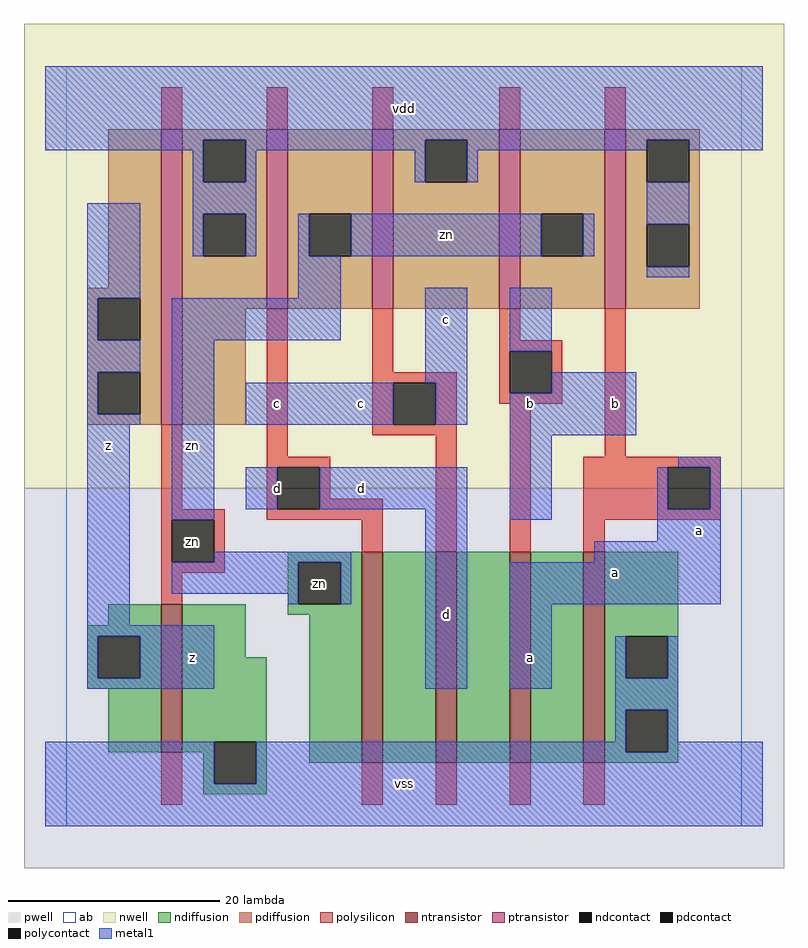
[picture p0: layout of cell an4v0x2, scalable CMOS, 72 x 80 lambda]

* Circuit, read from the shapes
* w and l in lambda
.subckt an4v0x2 a b c d vdd vss z zn
M1 vss zn z VSUBS nfet w=14 l=2
M2 n1 d zn VSUBS nfet w=20 l=2
M3 n2 c n1 VSUBS nfet w=20 l=2
M4 n3 b n2 VSUBS nfet w=20 l=2
M5 vss a n3 VSUBS nfet w=20 l=2
M6 vdd zn z n4 pfet w=28 l=2
M7 zn d vdd n4 pfet w=17 l=2
M8 vdd c zn n4 pfet w=17 l=2
M9 zn b vdd n4 pfet w=17 l=2
M10 vdd a zn n4 pfet w=17 l=2
.ends

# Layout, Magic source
magic
tech scmos
<< ab >>
rect 0 0 64 72
<< pwell >>
rect -4 -4 68 32
<< nwell >>
rect -4 32 68 76
<< polysilicon >>
rect 9 66 11 70
rect 19 66 21 70
rect 29 66 31 70
rect 41 66 43 70
rect 51 66 53 70
rect 9 30 11 38
rect 19 35 21 49
rect 29 43 31 49
rect 41 46 43 49
rect 41 45 47 46
rect 29 42 37 43
rect 29 38 31 42
rect 35 38 37 42
rect 41 41 42 45
rect 46 41 47 45
rect 41 40 47 41
rect 29 37 37 38
rect 19 34 25 35
rect 19 30 20 34
rect 24 31 25 34
rect 24 30 30 31
rect 9 29 15 30
rect 19 29 30 30
rect 9 25 10 29
rect 14 25 15 29
rect 28 26 30 29
rect 35 26 37 37
rect 42 26 44 40
rect 51 35 53 49
rect 49 34 62 35
rect 49 30 57 34
rect 61 30 62 34
rect 49 29 62 30
rect 49 26 51 29
rect 9 24 15 25
rect 9 21 11 24
rect 9 2 11 7
rect 28 2 30 6
rect 35 2 37 6
rect 42 2 44 6
rect 49 2 51 6
<< ndiffusion >>
rect 21 25 28 26
rect 21 21 22 25
rect 26 21 28 25
rect 4 19 9 21
rect 2 18 9 19
rect 2 14 3 18
rect 7 14 9 18
rect 2 13 9 14
rect 4 7 9 13
rect 11 16 17 21
rect 21 20 28 21
rect 11 8 19 16
rect 11 7 14 8
rect 13 4 14 7
rect 18 4 19 8
rect 23 6 28 20
rect 30 6 35 26
rect 37 6 42 26
rect 44 6 49 26
rect 51 18 58 26
rect 51 14 53 18
rect 57 14 58 18
rect 51 11 58 14
rect 51 7 53 11
rect 57 7 58 11
rect 51 6 58 7
rect 13 3 19 4
<< pdiffusion >>
rect 4 51 9 66
rect 2 50 9 51
rect 2 46 3 50
rect 7 46 9 50
rect 2 43 9 46
rect 2 39 3 43
rect 7 39 9 43
rect 2 38 9 39
rect 11 65 19 66
rect 11 61 13 65
rect 17 61 19 65
rect 11 58 19 61
rect 11 54 13 58
rect 17 54 19 58
rect 11 49 19 54
rect 21 58 29 66
rect 21 54 23 58
rect 27 54 29 58
rect 21 49 29 54
rect 31 65 41 66
rect 31 61 34 65
rect 38 61 41 65
rect 31 49 41 61
rect 43 58 51 66
rect 43 54 45 58
rect 49 54 51 58
rect 43 49 51 54
rect 53 65 60 66
rect 53 61 55 65
rect 59 61 60 65
rect 53 57 60 61
rect 53 53 55 57
rect 59 53 60 57
rect 53 49 60 53
rect 11 38 17 49
<< metal1 >>
rect -2 65 66 72
rect -2 64 13 65
rect 12 61 13 64
rect 17 64 34 65
rect 17 61 18 64
rect 33 61 34 64
rect 38 64 55 65
rect 38 61 39 64
rect 59 64 66 65
rect 2 50 7 59
rect 12 58 18 61
rect 12 54 13 58
rect 17 54 18 58
rect 22 54 23 58
rect 27 54 45 58
rect 49 54 50 58
rect 55 57 59 61
rect 22 50 26 54
rect 55 52 59 53
rect 2 46 3 50
rect 2 43 7 46
rect 2 39 3 43
rect 2 38 7 39
rect 10 46 26 50
rect 2 19 6 38
rect 10 29 14 46
rect 34 42 38 51
rect 17 38 31 42
rect 35 38 38 42
rect 42 45 46 51
rect 46 41 54 43
rect 42 37 54 41
rect 17 30 20 34
rect 24 30 38 34
rect 14 25 27 26
rect 10 22 22 25
rect 21 21 22 22
rect 26 21 27 25
rect 2 18 14 19
rect 2 14 3 18
rect 7 14 14 18
rect 2 13 14 14
rect 34 13 38 30
rect 42 29 46 37
rect 58 34 62 35
rect 56 30 57 34
rect 61 30 62 34
rect 56 27 62 30
rect 50 25 62 27
rect 42 21 62 25
rect 42 13 46 21
rect 52 14 53 18
rect 57 14 58 18
rect 52 11 58 14
rect 52 8 53 11
rect -2 4 14 8
rect 18 7 53 8
rect 57 8 58 11
rect 57 7 66 8
rect 18 4 66 7
rect -2 0 66 4
<< ntransistor >>
rect 9 7 11 21
rect 28 6 30 26
rect 35 6 37 26
rect 42 6 44 26
rect 49 6 51 26
<< ptransistor >>
rect 9 38 11 66
rect 19 49 21 66
rect 29 49 31 66
rect 41 49 43 66
rect 51 49 53 66
<< polycontact >>
rect 31 38 35 42
rect 42 41 46 45
rect 20 30 24 34
rect 10 25 14 29
rect 57 30 61 34
<< ndcontact >>
rect 22 21 26 25
rect 3 14 7 18
rect 14 4 18 8
rect 53 14 57 18
rect 53 7 57 11
<< pdcontact >>
rect 3 46 7 50
rect 3 39 7 43
rect 13 61 17 65
rect 13 54 17 58
rect 23 54 27 58
rect 34 61 38 65
rect 45 54 49 58
rect 55 61 59 65
rect 55 53 59 57
<< labels >>
rlabel polycontact 12 27 12 27 6 zn
rlabel metal1 12 16 12 16 6 z
rlabel metal1 4 36 4 36 6 z
rlabel metal1 12 36 12 36 6 zn
rlabel ndcontact 24 23 24 23 6 zn
rlabel metal1 20 32 20 32 6 d
rlabel metal1 28 32 28 32 6 d
rlabel metal1 20 40 20 40 6 c
rlabel metal1 28 40 28 40 6 c
rlabel metal1 32 4 32 4 6 vss
rlabel metal1 44 16 44 16 6 a
rlabel metal1 36 20 36 20 6 d
rlabel metal1 44 40 44 40 6 b
rlabel metal1 36 48 36 48 6 c
rlabel metal1 32 68 32 68 6 vdd
rlabel metal1 52 24 52 24 6 a
rlabel metal1 60 28 60 28 6 a
rlabel metal1 52 40 52 40 6 b
rlabel metal1 36 56 36 56 6 zn
<< end >>
